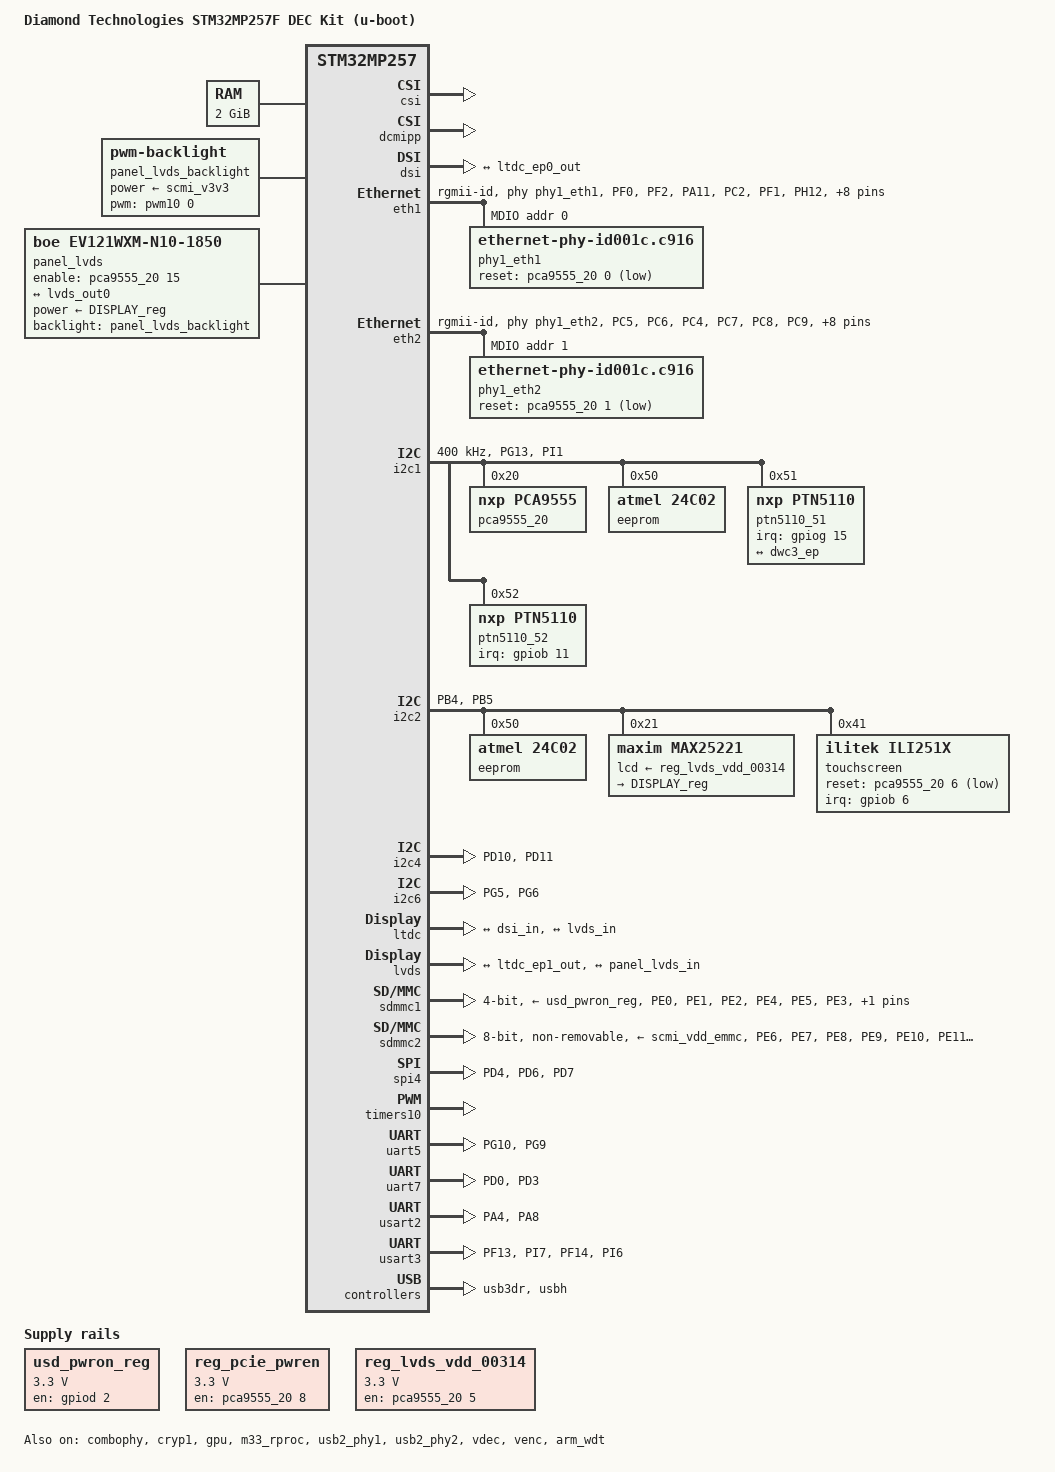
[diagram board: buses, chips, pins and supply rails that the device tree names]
// SPDX-License-Identifier: (GPL-2.0-only OR BSD-3-Clause)
/*
 * Copyright (C) 2025, STMicroelectronics - All Rights Reserved
 * Author: STM32CubeMX code generation for STMicroelectronics.
 */

/* For more information on Device Tree configuration, please refer to
 * https://wiki.st.com/stm32mpu/wiki/Category:Device_tree_configuration
 */

/dts-v1/;

#include <dt-bindings/pinctrl/stm32-pinfunc.h>
#include "stm32mp257.dtsi"
#include "stm32mp25xf.dtsi"
#include "stm32mp-dec-kit-resmem.dtsi"
#include "stm32mp25xxak-pinctrl.dtsi"

/* USER CODE BEGIN includes */
#include <dt-bindings/gpio/gpio.h>
#include <dt-bindings/input/input.h>
#include <dt-bindings/leds/common.h>
#include <dt-bindings/rtc/rtc-stm32.h>
#include <dt-bindings/usb/pd.h>
/* USER CODE END includes */

/ {
	model = "STMicroelectronics custom STM32CubeMX board - openstlinux-6.6-yocto-scarthgap-mpu-v25.06.11";
	compatible = "dec,stm32mp-dec-kit", "st,stm32mp257";

	memory@80000000 {
		device_type = "memory";
		reg = <0x0 0x80000000 0x0 0x80000000>;

		/* USER CODE BEGIN memory */
		/* USER CODE END memory */
	};

	/* USER CODE BEGIN root */
	aliases {
		serial0 = &usart2;
		serial1 = &usart6;
		serial2 = &usart1;
		ethernet0 = &eth1;
		ethernet1 = &eth2;
	};

	chosen {
		stdout-path = "serial0:115200n8";
		#address-cells = <2>;
		#size-cells = <2>;
		ranges;
	};

	usd_pwron_reg: usd_pwron {
		compatible = "regulator-fixed";
		pinctrl-names = "default";
		pinctrl-0 = <&usd_pwron_reg_pins>;		
		regulator-name = "usd-pwron-regulator";
		regulator-min-microvolt = <3300000>;
		regulator-max-microvolt = <3300000>;
		gpio = <&gpiod 2 GPIO_ACTIVE_HIGH>;
		enable-active-high;
	};

	reg_pcie_pwren: regulator-pcie-pwren {
		compatible = "regulator-fixed";
		regulator-name = "pcie-pwren";
		regulator-min-microvolt = <3300000>;
		regulator-max-microvolt = <3300000>;
		gpio = <&pca9555_20 8 GPIO_ACTIVE_HIGH>;
		enable-active-high;
		regulator-always-on;
		status = "okay";
	};		

	reg_lvds_vdd_00314: regulator-lvds-vdd {
		compatible = "regulator-fixed";
		regulator-name = "lvds_vdd";
		regulator-min-microvolt = <3300000>; /* 00314 will boost 1.8V output to 3.3V */
		regulator-max-microvolt = <3300000>;
		gpio = <&pca9555_20 5 GPIO_ACTIVE_HIGH>;
		enable-active-high;
		regulator-always-on;
		status = "okay";
	};
	/* USER CODE END root */

	clocks{

		/* USER CODE BEGIN clocks */
		/* USER CODE END clocks */
	};

}; /*root*/

&pinctrl {

	eth1_mdio_pins_mx: eth1_mdio_mx-0 {
		pins1 {
			pinmux = <STM32_PINMUX('F', 0, AF10)>; /* ETH1_MDC */
			bias-disable;
			drive-push-pull;
			slew-rate = <2>;
			st,io-clk-edge = <0>;
			st,io-retime = <0>;
			st,io-delay-path = <0>;
			st,io-delay = <0>;
		};
		pins2 {
			pinmux = <STM32_PINMUX('F', 2, AF10)>; /* ETH1_MDIO */
			bias-disable;
			drive-push-pull;
			slew-rate = <0>;
			st,io-clk-edge = <0>;
			st,io-retime = <0>;
			st,io-delay-path = <0>;
			st,io-delay = <0>;
		};
	};

	eth1_mdio_sleep_pins_mx: eth1_mdio_sleep_mx-0 {
		pins {
			pinmux = <STM32_PINMUX('F', 0, ANALOG)>, /* ETH1_MDC */
					 <STM32_PINMUX('F', 2, ANALOG)>; /* ETH1_MDIO */
		};
	};

	eth1_rgmii_pins_mx: eth1_rgmii_mx-0 {
		pins1 {
			pinmux = <STM32_PINMUX('A', 11, AF10)>, /* ETH1_RGMII_RX_CTL */
					 <STM32_PINMUX('C', 2, AF10)>, /* ETH1_RGMII_RXD1 */
					 <STM32_PINMUX('F', 1, AF10)>, /* ETH1_RGMII_RXD0 */
					 <STM32_PINMUX('H', 12, AF10)>, /* ETH1_RGMII_RXD2 */
					 <STM32_PINMUX('H', 13, AF10)>; /* ETH1_RGMII_RXD3 */
			bias-disable;
			drive-push-pull;
			st,io-clk-edge = <1>;
			st,io-retime = <1>;
			st,io-delay-path = <0>;
			st,io-delay = <0>;
		};
		pins2 {
			pinmux = <STM32_PINMUX('A', 13, AF10)>, /* ETH1_RGMII_TX_CTL */
					 <STM32_PINMUX('A', 15, AF10)>, /* ETH1_RGMII_TXD0 */
					 <STM32_PINMUX('C', 1, AF10)>, /* ETH1_RGMII_TXD1 */
					 <STM32_PINMUX('H', 10, AF10)>, /* ETH1_RGMII_TXD2 */
					 <STM32_PINMUX('H', 11, AF10)>; /* ETH1_RGMII_TXD3 */
			bias-disable;
			drive-push-pull;
			slew-rate = <2>;
			st,io-clk-edge = <1>;
			st,io-retime = <1>;
			st,io-delay-path = <0>;
			st,io-delay = <0>;
		};
		pins3 {
			pinmux = <STM32_PINMUX('A', 14, AF10)>; /* ETH1_RGMII_RX_CLK */
			bias-disable;
			drive-push-pull;
			slew-rate = <0>;
			st,io-clk-edge = <0>;
			st,io-retime = <0>;
			st,io-delay-path = <0>;
			st,io-delay = <0>;
		};
		pins4 {
			pinmux = <STM32_PINMUX('C', 0, AF12)>; /* ETH1_RGMII_GTX_CLK */
			bias-disable;
			drive-push-pull;
			slew-rate = <1>;
			st,io-clk-edge = <0>;
			st,io-retime = <0>;
			st,io-delay-path = <0>;
			st,io-delay = <0>;
		};
	};

	eth1_rgmii_sleep_pins_mx: eth1_rgmii_sleep_mx-0 {
		pins {
			pinmux = <STM32_PINMUX('A', 11, ANALOG)>, /* ETH1_RGMII_RX_CTL */
					 <STM32_PINMUX('A', 13, ANALOG)>, /* ETH1_RGMII_TX_CTL */
					 <STM32_PINMUX('A', 14, ANALOG)>, /* ETH1_RGMII_RX_CLK */
					 <STM32_PINMUX('A', 15, ANALOG)>, /* ETH1_RGMII_TXD0 */
					 <STM32_PINMUX('C', 0, ANALOG)>, /* ETH1_RGMII_GTX_CLK */
					 <STM32_PINMUX('C', 1, ANALOG)>, /* ETH1_RGMII_TXD1 */
					 <STM32_PINMUX('C', 2, ANALOG)>, /* ETH1_RGMII_RXD1 */
					 <STM32_PINMUX('F', 1, ANALOG)>, /* ETH1_RGMII_RXD0 */
					 <STM32_PINMUX('H', 10, ANALOG)>, /* ETH1_RGMII_TXD2 */
					 <STM32_PINMUX('H', 11, ANALOG)>, /* ETH1_RGMII_TXD3 */
					 <STM32_PINMUX('H', 12, ANALOG)>, /* ETH1_RGMII_RXD2 */
					 <STM32_PINMUX('H', 13, ANALOG)>; /* ETH1_RGMII_RXD3 */
		};
	};

	eth2_mdio_pins_mx: eth2_mdio_mx-0 {
		pins1 {
			pinmux = <STM32_PINMUX('C', 5, AF10)>; /* ETH2_MDIO */
			bias-disable;
			drive-push-pull;
			slew-rate = <0>;
			st,io-clk-edge = <0>;
			st,io-retime = <0>;
			st,io-delay-path = <0>;
			st,io-delay = <0>;
		};
		pins2 {
			pinmux = <STM32_PINMUX('C', 6, AF10)>; /* ETH2_MDC */
			bias-disable;
			drive-push-pull;
			slew-rate = <2>;
			st,io-clk-edge = <0>;
			st,io-retime = <0>;
			st,io-delay-path = <0>;
			st,io-delay = <0>;
		};
	};

	eth2_mdio_sleep_pins_mx: eth2_mdio_sleep_mx-0 {
		pins {
			pinmux = <STM32_PINMUX('C', 5, ANALOG)>, /* ETH2_MDIO */
					 <STM32_PINMUX('C', 6, ANALOG)>; /* ETH2_MDC */
		};
	};

	eth2_rgmii_pins_mx: eth2_rgmii_mx-0 {
		pins1 {
			pinmux = <STM32_PINMUX('C', 4, AF10)>, /* ETH2_RGMII_TX_CTL */
					 <STM32_PINMUX('C', 7, AF10)>, /* ETH2_RGMII_TXD0 */
					 <STM32_PINMUX('C', 8, AF10)>, /* ETH2_RGMII_TXD1 */
					 <STM32_PINMUX('C', 9, AF10)>, /* ETH2_RGMII_TXD2 */
					 <STM32_PINMUX('C', 10, AF10)>; /* ETH2_RGMII_TXD3 */
			bias-disable;
			drive-push-pull;
			slew-rate = <2>;
			st,io-clk-edge = <1>;
			st,io-retime = <1>;
			st,io-delay-path = <0>;
			st,io-delay = <0>;
		};
		pins2 {
			pinmux = <STM32_PINMUX('C', 3, AF10)>, /* ETH2_RGMII_RX_CTL */
					 <STM32_PINMUX('C', 11, AF10)>, /* ETH2_RGMII_RXD3 */
					 <STM32_PINMUX('C', 12, AF10)>, /* ETH2_RGMII_RXD1 */
					 <STM32_PINMUX('F', 9, AF10)>, /* ETH2_RGMII_RXD2 */
					 <STM32_PINMUX('G', 0, AF10)>; /* ETH2_RGMII_RXD0 */
			bias-disable;
			drive-push-pull;
			st,io-clk-edge = <1>;
			st,io-retime = <1>;
			st,io-delay-path = <0>;
			st,io-delay = <0>;
		};
		pins3 {
			pinmux = <STM32_PINMUX('F', 6, AF10)>; /* ETH2_RGMII_RX_CLK */
			bias-disable;
			drive-push-pull;
			slew-rate = <0>;
			st,io-clk-edge = <0>;
			st,io-retime = <0>;
			st,io-delay-path = <0>;
			st,io-delay = <0>;
		};
		pins4 {
			pinmux = <STM32_PINMUX('F', 7, AF10)>; /* ETH2_RGMII_GTX_CLK */
			bias-disable;
			drive-push-pull;
			slew-rate = <1>;
			st,io-clk-edge = <0>;
			st,io-retime = <0>;
			st,io-delay-path = <0>;
			st,io-delay = <0>;
		};
	};

	eth2_rgmii_sleep_pins_mx: eth2_rgmii_sleep_mx-0 {
		pins {
			pinmux = <STM32_PINMUX('C', 3, ANALOG)>, /* ETH2_RGMII_RX_CTL */
					 <STM32_PINMUX('C', 4, ANALOG)>, /* ETH2_RGMII_TX_CTL */
					 <STM32_PINMUX('C', 7, ANALOG)>, /* ETH2_RGMII_TXD0 */
					 <STM32_PINMUX('C', 8, ANALOG)>, /* ETH2_RGMII_TXD1 */
					 <STM32_PINMUX('C', 9, ANALOG)>, /* ETH2_RGMII_TXD2 */
					 <STM32_PINMUX('C', 10, ANALOG)>, /* ETH2_RGMII_TXD3 */
					 <STM32_PINMUX('C', 11, ANALOG)>, /* ETH2_RGMII_RXD3 */
					 <STM32_PINMUX('C', 12, ANALOG)>, /* ETH2_RGMII_RXD1 */
					 <STM32_PINMUX('F', 6, ANALOG)>, /* ETH2_RGMII_RX_CLK */
					 <STM32_PINMUX('F', 7, ANALOG)>, /* ETH2_RGMII_GTX_CLK */
					 <STM32_PINMUX('F', 9, ANALOG)>, /* ETH2_RGMII_RXD2 */
					 <STM32_PINMUX('G', 0, ANALOG)>; /* ETH2_RGMII_RXD0 */
		};
	};

	i2c1_pins_mx: i2c1_mx-0 {
		pins {
			pinmux = <STM32_PINMUX('G', 13, AF9)>, /* I2C1_SCL */
					 <STM32_PINMUX('I', 1, AF9)>; /* I2C1_SDA */
			bias-disable;
			drive-open-drain;
			slew-rate = <0>;
		};
	};

	i2c1_sleep_pins_mx: i2c1_sleep_mx-0 {
		pins {
			pinmux = <STM32_PINMUX('G', 13, ANALOG)>, /* I2C1_SCL */
					 <STM32_PINMUX('I', 1, ANALOG)>; /* I2C1_SDA */
		};
	};

	i2c2_pins_mx: i2c2_mx-0 {
		pins {
			pinmux = <STM32_PINMUX('B', 4, AF9)>, /* I2C2_SDA */
					 <STM32_PINMUX('B', 5, AF9)>; /* I2C2_SCL */
			bias-disable;
			drive-open-drain;
			slew-rate = <0>;
		};
	};

	i2c2_sleep_pins_mx: i2c2_sleep_mx-0 {
		pins {
			pinmux = <STM32_PINMUX('B', 4, ANALOG)>, /* I2C2_SDA */
					 <STM32_PINMUX('B', 5, ANALOG)>; /* I2C2_SCL */
		};
	};

	i2c4_pins_mx: i2c4_mx-0 {
		pins {
			pinmux = <STM32_PINMUX('D', 10, AF6)>, /* I2C4_SDA */
					 <STM32_PINMUX('D', 11, AF6)>; /* I2C4_SCL */
			bias-disable;
			drive-open-drain;
			slew-rate = <0>;
		};
	};

	i2c4_sleep_pins_mx: i2c4_sleep_mx-0 {
		pins {
			pinmux = <STM32_PINMUX('D', 10, ANALOG)>, /* I2C4_SDA */
					 <STM32_PINMUX('D', 11, ANALOG)>; /* I2C4_SCL */
		};
	};

	i2c6_pins_mx: i2c6_mx-0 {
		pins {
			pinmux = <STM32_PINMUX('G', 5, AF9)>, /* I2C6_SDA */
					 <STM32_PINMUX('G', 6, AF9)>; /* I2C6_SCL */
			bias-disable;
			drive-open-drain;
			slew-rate = <0>;
		};
	};

	i2c6_sleep_pins_mx: i2c6_sleep_mx-0 {
		pins {
			pinmux = <STM32_PINMUX('G', 5, ANALOG)>, /* I2C6_SDA */
					 <STM32_PINMUX('G', 6, ANALOG)>; /* I2C6_SCL */
		};
	};

	sdmmc1_pins_mx: sdmmc1_mx-0 {
		pins1 {
			pinmux = <STM32_PINMUX('E', 0, AF10)>, /* SDMMC1_D2 */
					 <STM32_PINMUX('E', 1, AF10)>, /* SDMMC1_D3 */
					 <STM32_PINMUX('E', 2, AF10)>, /* SDMMC1_CMD */
					 <STM32_PINMUX('E', 4, AF10)>, /* SDMMC1_D0 */
					 <STM32_PINMUX('E', 5, AF10)>; /* SDMMC1_D1 */
			bias-pull-up;
			drive-push-pull;
			slew-rate = <1>;
		};
		pins2 {
			pinmux = <STM32_PINMUX('E', 3, AF10)>; /* SDMMC1_CK */
			bias-pull-up;
			drive-push-pull;
			slew-rate = <2>;
		};
	};

	sdmmc1_opendrain_pins_mx: sdmmc1_opendrain_mx-0 {
		pins1 {
			pinmux = <STM32_PINMUX('E', 0, AF10)>, /* SDMMC1_D2 */
					 <STM32_PINMUX('E', 1, AF10)>, /* SDMMC1_D3 */
					 <STM32_PINMUX('E', 4, AF10)>, /* SDMMC1_D0 */
					 <STM32_PINMUX('E', 5, AF10)>; /* SDMMC1_D1 */
			bias-pull-up;
			drive-push-pull;
			slew-rate = <1>;
		};
		pins2 {
			pinmux = <STM32_PINMUX('E', 2, AF10)>; /* SDMMC1_CMD */
			bias-pull-up;
			drive-open-drain;
			slew-rate = <1>;
		};
		pins3 {
			pinmux = <STM32_PINMUX('E', 3, AF10)>; /* SDMMC1_CK */
			bias-pull-up;
			drive-push-pull;
			slew-rate = <2>;
		};
	};

	sdmmc1_sleep_pins_mx: sdmmc1_sleep_mx-0 {
		pins {
			pinmux = <STM32_PINMUX('E', 0, ANALOG)>, /* SDMMC1_D2 */
					 <STM32_PINMUX('E', 1, ANALOG)>, /* SDMMC1_D3 */
					 <STM32_PINMUX('E', 2, ANALOG)>, /* SDMMC1_CMD */
					 <STM32_PINMUX('E', 3, ANALOG)>, /* SDMMC1_CK */
					 <STM32_PINMUX('E', 4, ANALOG)>, /* SDMMC1_D0 */
					 <STM32_PINMUX('E', 5, ANALOG)>; /* SDMMC1_D1 */
		};
	};

	sdmmc2_pins_mx: sdmmc2_mx-0 {
		pins1 {
			pinmux = <STM32_PINMUX('E', 6, AF12)>, /* SDMMC2_D6 */
					 <STM32_PINMUX('E', 7, AF12)>, /* SDMMC2_D7 */
					 <STM32_PINMUX('E', 8, AF12)>, /* SDMMC2_D2 */
					 <STM32_PINMUX('E', 9, AF12)>, /* SDMMC2_D5 */
					 <STM32_PINMUX('E', 10, AF12)>, /* SDMMC2_D4 */
					 <STM32_PINMUX('E', 11, AF12)>, /* SDMMC2_D1 */
					 <STM32_PINMUX('E', 12, AF12)>, /* SDMMC2_D3 */
					 <STM32_PINMUX('E', 13, AF12)>, /* SDMMC2_D0 */
					 <STM32_PINMUX('E', 15, AF12)>; /* SDMMC2_CMD */
			bias-pull-up;
			drive-push-pull;
			slew-rate = <1>;
		};
		pins2 {
			pinmux = <STM32_PINMUX('E', 14, AF12)>; /* SDMMC2_CK */
			bias-pull-up;
			drive-push-pull;
			slew-rate = <2>;
		};
	};

	sdmmc2_opendrain_pins_mx: sdmmc2_opendrain_mx-0 {
		pins1 {
			pinmux = <STM32_PINMUX('E', 6, AF12)>, /* SDMMC2_D6 */
					 <STM32_PINMUX('E', 7, AF12)>, /* SDMMC2_D7 */
					 <STM32_PINMUX('E', 8, AF12)>, /* SDMMC2_D2 */
					 <STM32_PINMUX('E', 9, AF12)>, /* SDMMC2_D5 */
					 <STM32_PINMUX('E', 10, AF12)>, /* SDMMC2_D4 */
					 <STM32_PINMUX('E', 11, AF12)>, /* SDMMC2_D1 */
					 <STM32_PINMUX('E', 12, AF12)>, /* SDMMC2_D3 */
					 <STM32_PINMUX('E', 13, AF12)>; /* SDMMC2_D0 */
			bias-pull-up;
			drive-push-pull;
			slew-rate = <1>;
		};
		pins2 {
			pinmux = <STM32_PINMUX('E', 14, AF12)>; /* SDMMC2_CK */
			bias-pull-up;
			drive-push-pull;
			slew-rate = <2>;
		};
		pins3 {
			pinmux = <STM32_PINMUX('E', 15, AF12)>; /* SDMMC2_CMD */
			bias-pull-up;
			drive-open-drain;
			slew-rate = <1>;
		};
	};

	sdmmc2_sleep_pins_mx: sdmmc2_sleep_mx-0 {
		pins {
			pinmux = <STM32_PINMUX('E', 6, ANALOG)>, /* SDMMC2_D6 */
					 <STM32_PINMUX('E', 7, ANALOG)>, /* SDMMC2_D7 */
					 <STM32_PINMUX('E', 8, ANALOG)>, /* SDMMC2_D2 */
					 <STM32_PINMUX('E', 9, ANALOG)>, /* SDMMC2_D5 */
					 <STM32_PINMUX('E', 10, ANALOG)>, /* SDMMC2_D4 */
					 <STM32_PINMUX('E', 11, ANALOG)>, /* SDMMC2_D1 */
					 <STM32_PINMUX('E', 12, ANALOG)>, /* SDMMC2_D3 */
					 <STM32_PINMUX('E', 13, ANALOG)>, /* SDMMC2_D0 */
					 <STM32_PINMUX('E', 14, ANALOG)>, /* SDMMC2_CK */
					 <STM32_PINMUX('E', 15, ANALOG)>; /* SDMMC2_CMD */
		};
	};

	spi4_pins_mx: spi4_mx-0 {
		pins {
			pinmux = <STM32_PINMUX('D', 4, AF1)>, /* SPI4_MISO */
					 <STM32_PINMUX('D', 6, AF1)>, /* SPI4_MOSI */
					 <STM32_PINMUX('D', 7, AF1)>; /* SPI4_SCK */
			bias-disable;
			drive-push-pull;
			slew-rate = <0>;
		};
	};

	spi4_sleep_pins_mx: spi4_sleep_mx-0 {
		pins {
			pinmux = <STM32_PINMUX('D', 4, ANALOG)>, /* SPI4_MISO */
					 <STM32_PINMUX('D', 6, ANALOG)>, /* SPI4_MOSI */
					 <STM32_PINMUX('D', 7, ANALOG)>; /* SPI4_SCK */
		};
	};

	tim10_pwm_pins_mx: tim10_pwm_mx-0 {
		pins {
			pinmux = <STM32_PINMUX('B', 9, AF9)>; /* TIM10_CH1 */
			bias-disable;
			drive-push-pull;
			slew-rate = <0>;
		};
	};

	tim10_pwm_sleep_pins_mx: tim10_pwm_sleep_mx-0 {
		pins {
			pinmux = <STM32_PINMUX('B', 9, ANALOG)>; /* TIM10_CH1 */
		};
	};

	uart5_pins_mx: uart5_mx-0 {
		pins1 {
			pinmux = <STM32_PINMUX('G', 10, AF5)>; /* UART5_RX */
			bias-disable;
			drive-push-pull;
		};
		pins2 {
			pinmux = <STM32_PINMUX('G', 9, AF5)>; /* UART5_TX */
			bias-disable;
			drive-push-pull;
			slew-rate = <0>;
		};
	};

	uart5_idle_pins_mx: uart5_idle_mx-0 {
		pins1 {
			pinmux = <STM32_PINMUX('G', 10, AF5)>; /* UART5_RX */
			bias-disable;
			drive-push-pull;
		};
		pins2 {
			pinmux = <STM32_PINMUX('G', 9, ANALOG)>; /* UART5_TX */
		};
	};

	uart5_sleep_pins_mx: uart5_sleep_mx-0 {
		pins {
			pinmux = <STM32_PINMUX('G', 9, ANALOG)>, /* UART5_TX */
					 <STM32_PINMUX('G', 10, ANALOG)>; /* UART5_RX */
		};
	};

	uart7_pins_mx: uart7_mx-0 {
		pins1 {
			pinmux = <STM32_PINMUX('D', 0, AF6)>; /* UART7_RX */
			bias-disable;
			drive-push-pull;
		};
		pins2 {
			pinmux = <STM32_PINMUX('D', 3, AF6)>; /* UART7_TX */
			bias-disable;
			drive-push-pull;
			slew-rate = <0>;
		};
	};

	uart7_idle_pins_mx: uart7_idle_mx-0 {
		pins1 {
			pinmux = <STM32_PINMUX('D', 0, AF6)>; /* UART7_RX */
			bias-disable;
			drive-push-pull;
		};
		pins2 {
			pinmux = <STM32_PINMUX('D', 3, ANALOG)>; /* UART7_TX */
		};
	};

	uart7_sleep_pins_mx: uart7_sleep_mx-0 {
		pins {
			pinmux = <STM32_PINMUX('D', 0, ANALOG)>, /* UART7_RX */
					 <STM32_PINMUX('D', 3, ANALOG)>; /* UART7_TX */
		};
	};

	usart2_pins_mx: usart2_mx-0 {
		pins1 {
			pinmux = <STM32_PINMUX('A', 4, AF6)>; /* USART2_TX */
			bias-disable;
			drive-push-pull;
			slew-rate = <0>;
		};
		pins2 {
			pinmux = <STM32_PINMUX('A', 8, AF8)>; /* USART2_RX */
			bias-disable;
			drive-push-pull;
		};
	};

	usart2_idle_pins_mx: usart2_idle_mx-0 {
		pins1 {
			pinmux = <STM32_PINMUX('A', 4, ANALOG)>; /* USART2_TX */
		};
		pins2 {
			pinmux = <STM32_PINMUX('A', 8, AF8)>; /* USART2_RX */
			bias-disable;
			drive-push-pull;
		};
	};

	usart2_sleep_pins_mx: usart2_sleep_mx-0 {
		pins {
			pinmux = <STM32_PINMUX('A', 4, ANALOG)>, /* USART2_TX */
					 <STM32_PINMUX('A', 8, ANALOG)>; /* USART2_RX */
		};
	};

	usart3_pins_mx: usart3_mx-0 {
		pins1 {
			pinmux = <STM32_PINMUX('F', 13, AF6)>, /* USART3_CTS */
					 <STM32_PINMUX('I', 7, AF6)>; /* USART3_RX */
			bias-disable;
			drive-push-pull;
		};
		pins2 {
			pinmux = <STM32_PINMUX('F', 14, AF6)>, /* USART3_RTS */
					 <STM32_PINMUX('I', 6, AF6)>; /* USART3_TX */
			bias-disable;
			drive-push-pull;
			slew-rate = <0>;
		};
	};

	usart3_idle_pins_mx: usart3_idle_mx-0 {
		pins1 {
			pinmux = <STM32_PINMUX('F', 13, ANALOG)>, /* USART3_CTS */
					 <STM32_PINMUX('I', 6, ANALOG)>; /* USART3_TX */
		};
		pins2 {
			pinmux = <STM32_PINMUX('F', 14, AF6)>; /* USART3_RTS */
			bias-disable;
			drive-push-pull;
			slew-rate = <0>;
		};
		pins3 {
			pinmux = <STM32_PINMUX('I', 7, AF6)>; /* USART3_RX */
			bias-disable;
			drive-push-pull;
		};
	};

	usart3_sleep_pins_mx: usart3_sleep_mx-0 {
		pins {
			pinmux = <STM32_PINMUX('F', 13, ANALOG)>, /* USART3_CTS */
					 <STM32_PINMUX('F', 14, ANALOG)>, /* USART3_RTS */
					 <STM32_PINMUX('I', 6, ANALOG)>, /* USART3_TX */
					 <STM32_PINMUX('I', 7, ANALOG)>; /* USART3_RX */
		};
	};

	/* USER CODE BEGIN pinctrl */
	ptn5110_51_pins: ptn5110_51_pins-0 {
		pins {															
			pinmux = <STM32_PINMUX('G', 15, GPIO)>; /* USB_A_nALERT_1V8 */		
			bias-pull-up;
		};																
	};
	
	ptn5110_52_pins: ptn5110_52_pins-0 {
		pins {															
			pinmux = <STM32_PINMUX('B', 11, GPIO)>; /* USB_C_nALERT_1V8 */		
			bias-pull-up;
		};																
	};
	
	sdmmc1_gpio_pins: sdmmc1_gpio_pins-0 {
		pins {
			pinmux = <STM32_PINMUX('D', 9, GPIO)>; /* uSD_nDETECT */
		};
	};	

	usd_pwron_reg_pins: usd_pwron_reg_pins-0  {								
		pins {															
			pinmux = <STM32_PINMUX('D', 2, GPIO)>; /* uSD_PWRON */		
		};																
	};
		
	pinctrl_lvds_touchscreen: pinctrl_lvds_touchscreen-0 {
		pins {															
			pinmux = <STM32_PINMUX('B', 6, GPIO)>; /* LVDSCT_nINT */		
		};																
	};						

	pinctrl_dsi_touchscreen: pinctrl_dsi_touchscreen-0 {
		pins {															
			pinmux = <STM32_PINMUX('B', 3, GPIO)>; /* DSICT_nINT */		
		};																
	};	
	/* USER CODE END pinctrl */
};

&pinctrl_z {
	/* USER CODE BEGIN pinctrl_z */
	/* USER CODE END pinctrl_z */
};

&combophy {
	status = "okay";

	/* USER CODE BEGIN combophy */
	clocks = <&rcc CK_BUS_USB3PCIEPHY>, <&rcc CK_KER_USB3PCIEPHY>;
	clock-names = "apb-clk", "ker-clk";
	st,rx_equalizer = <1>;	
	/* USER CODE END combophy */
};

&cryp1 {
	status = "okay";

	/* USER CODE BEGIN cryp1 */
	/* USER CODE END cryp1 */
};

&csi {
	status = "okay";

	/* USER CODE BEGIN csi */
	/* USER CODE END csi */
};

&dcmipp {
	status = "okay";

	/* USER CODE BEGIN dcmipp */
	/* USER CODE END dcmipp */
};

&dsi {
	status = "okay";

	/* USER CODE BEGIN dsi */
	vdd-supply =  <&scmi_vddcore>;
	vdda18-supply = <&scmi_v1v8>;
	ports {
		#address-cells = <1>;
		#size-cells = <0>;

		port@0 {
			reg = <0>;
			dsi_in: endpoint {
				remote-endpoint = <&ltdc_ep0_out>;
			};
		};

/*
		port@1 {
			reg = <1>;
			dsi_out1: endpoint {
				remote-endpoint = <&sn65dsi83_in>;
			};
		};
*/
	};
	/* USER CODE END dsi */
};

&eth1 {
	pinctrl-names = "default", "sleep";
	pinctrl-0 = <&eth1_mdio_pins_mx>, <&eth1_rgmii_pins_mx>;
	pinctrl-1 = <&eth1_mdio_sleep_pins_mx>, <&eth1_rgmii_sleep_pins_mx>;
	status = "okay";

	/* USER CODE BEGIN eth1 */
	phy-mode = "rgmii-id";
	max-speed = <1000>;
	phy-handle = <&phy1_eth1>;
	st,eth-ptp-from-rcc;
	st,eth-clk-sel;
	snps,ext-systime;

	mdio1 {
		#address-cells = <1>;
		#size-cells = <0>;
		compatible = "snps,dwmac-mdio";

		phy1_eth1: ethernet-phy@0 {
			compatible = "ethernet-phy-id001c.c916";
			reset-gpios =  <&pca9555_20 0 GPIO_ACTIVE_LOW>;
			eee-broken-1000t;
			reset-assert-us = <10000>;
			reset-deassert-us = <80000>;		
			reg = <0>;
		};
	};	
	/* USER CODE END eth1 */
};

&eth2 {
	pinctrl-names = "default", "sleep";
	pinctrl-0 = <&eth2_mdio_pins_mx>, <&eth2_rgmii_pins_mx>;
	pinctrl-1 = <&eth2_mdio_sleep_pins_mx>, <&eth2_rgmii_sleep_pins_mx>;
	status = "okay";

	/* USER CODE BEGIN eth2 */
	phy-mode = "rgmii-id";
	max-speed = <1000>;
	phy-handle = <&phy1_eth2>;
	st,eth-ptp-from-rcc;
	st,eth-clk-sel;
	snps,ext-systime;

	mdio1 {
		#address-cells = <1>;
		#size-cells = <0>;
		compatible = "snps,dwmac-mdio";
		phy1_eth2: ethernet-phy@1 {
			compatible = "ethernet-phy-id001c.c916";
			reset-gpios =  <&pca9555_20 1 GPIO_ACTIVE_LOW>;
			reset-assert-us = <10000>;
			reset-deassert-us = <80000>;
			realtek,eee-disable;
			reg = <1>;
		};
	};	
	/* USER CODE END eth2 */
};

&gpu {
	status = "okay";

	/* USER CODE BEGIN gpu */
	contiguous-area = <&gpu_reserved>;
	/* USER CODE END gpu */
};

&hpdma {
	status = "okay";

	/* USER CODE BEGIN hpdma */
	memory-region = <&hpdma1_lli>;
	/* USER CODE END hpdma */
};

&hpdma2 {
	status = "okay";

	/* USER CODE BEGIN hpdma2 */
	memory-region = <&hpdma2_lli>;
	/* USER CODE END hpdma2 */
};

&hpdma3 {
	status = "okay";

	/* USER CODE BEGIN hpdma3 */
	memory-region = <&hpdma3_lli>;
	/* USER CODE END hpdma3 */
};

&i2c1 {
	pinctrl-names = "default", "sleep";
	pinctrl-0 = <&i2c1_pins_mx>;
	pinctrl-1 = <&i2c1_sleep_pins_mx>;
	status = "okay";

	/* USER CODE BEGIN i2c1 */
	i2c-scl-rising-time-ns = <108>;
	i2c-scl-falling-time-ns = <12>;
	clock-frequency = <400000>;
	status = "okay";
	/* spare dmas for other usage */
	/delete-property/dmas;
	/delete-property/dma-names;

	pca9555_20: pca9555@20 {
		compatible = "nxp,pca9555";
		gpio-controller;
		#gpio-cells = <2>;
		reg = <0x20>;
		gpio-line-names =
			"pca9555_20-0",	"pca9555_20-1",	"pca9555_20-2",	"pca9555_20-3", 	// 0-3
			"pca9555_20-4",	"pca9555_20-5",	"pca9555_20-6",	"pca9555_20-7",		// 4-7
			"pca9555_20-8",	"pca9555_20-9",	"pca9555_20-10","pca9555_20-11", 	// 8-11
			"pca9555_20-12","pca9555_20-13","pca9555_20-14","pca9555_20-15"; 	// 12-15		
	};

	eeprom@50 {
		compatible = "atmel,24c02";
		reg = <0x50>;
		pagesize = <16>;		
		status = "okay";
	};

	ptn5110_51: tcpc@51 {
		compatible = "nxp,ptn5110";
		reg = <0x51>;
		pinctrl-0 = <&ptn5110_51_pins>;
		interrupt-parent = <&gpiog>;
		interrupts = <15 IRQ_TYPE_EDGE_FALLING>;
		status = "okay";

		usbc_a_con: connector {
			compatible = "usb-c-connector";
			label = "USB-C(A)";
			power-role = "dual";
			data-role = "dual";
			try-power-role = "sink";
			source-pdos = <PDO_FIXED(5000, 3000, PDO_FIXED_USB_COMM)>;
			sink-pdos = <PDO_FIXED(5000, 3000, PDO_FIXED_USB_COMM)
				     PDO_VAR(5000, 20000, 3000)>;
			op-sink-microwatt = <15000000>;
			self-powered;
			status = "okay";

			port {
				typec_a_ep: endpoint {
					remote-endpoint = <&dwc3_ep>;
				};
			};
		};
	};

	ptn5110_52: tcpc@52 {
		compatible = "nxp,ptn5110";
		reg = <0x52>;
		pinctrl-0 = <&ptn5110_52_pins>;
		interrupt-parent = <&gpiob>;
		interrupts = <11 IRQ_TYPE_EDGE_FALLING>;
		status = "okay";

		usbc_c_con: connector {
			compatible = "usb-c-connector";
			label = "USB-C(C)";
			power-role = "source";
			data-role = "host";
			source-pdos = <PDO_FIXED(5000, 3000, PDO_FIXED_USB_COMM)>;
			self-powered;
			status = "okay";
		};
	};	
	/* USER CODE END i2c1 */
};

&i2c2 {
	pinctrl-names = "default", "sleep";
	pinctrl-0 = <&i2c2_pins_mx>;
	pinctrl-1 = <&i2c2_sleep_pins_mx>;
	status = "okay";

	/* USER CODE BEGIN i2c2 */
/*
	// gt911@5d {
	lvds_touchscreen@5d {
		compatible = "goodix,gt911";
		reg = <0x5d>;
		// reg = <0x14>;
		pinctrl-0 = <&pinctrl_lvds_touchscreen>;			
		interrupt-parent = <&gpiob>;
		interrupts = <6 IRQ_TYPE_EDGE_FALLING>;
		irq-gpios = <&gpiob 6 GPIO_ACTIVE_HIGH>;	//the driver uses this line to set the i2c address during initialization
		reset-gpios = <&pca9555_20 6 GPIO_ACTIVE_LOW>;
		status = "okay";
	};	
*/
	/* eeprom on display */
	eeprom@50 {
		compatible = "atmel,24c02";
		reg = <0x50>;
		pagesize = <16>;		
		status = "okay";
	};

	max25221: max25221@21 {
		compatible = "maxim,max25221";
		reg = <0x21>;
		lcd-supply = <&reg_lvds_vdd_00314>;
		status = "okay";

		regulators {
			DISPLAY_reg: DISPLAY {
				regulator-name = "DISPLAY";
			};
		};
	};

	touchscreen@41 {
		compatible = "ilitek,ili251x";
		reg = <0x41>;
		pinctrl-names = "default";
		pinctrl-0 =<&pinctrl_lvds_touchscreen>;
		interrupt-parent = <&gpiob>;
		interrupts = <6 IRQ_TYPE_EDGE_FALLING>;
		reset-gpios = <&pca9555_20 6 GPIO_ACTIVE_LOW>;
		// touchscreen-size-x = <1280>;
		// touchscreen-size-y = <800>;
	};
/* 
	dsi_touchscreen@41 {
		compatible = "ilitek,ili2520";
		reg = <0x41>;

		pinctrl-0 = <&pinctrl_dsi_touchscreen>;
		reset-gpios = <&pca9555_20 4 GPIO_ACTIVE_LOW>;
		interrupt-parent = <&gpiob>;
		interrupts = <3 IRQ_TYPE_LEVEL_LOW>;
		touchscreen-swapped-x-y;
		touchscreen-inverted-x;
		wakeup-source;
	};
*/

	/* USER CODE END i2c2 */
};

&i2c4 {
	pinctrl-names = "default", "sleep";
	pinctrl-0 = <&i2c4_pins_mx>;
	pinctrl-1 = <&i2c4_sleep_pins_mx>;
	status = "okay";

	/* USER CODE BEGIN i2c4 */
	/* USER CODE END i2c4 */
};

&i2c6 {
	pinctrl-names = "default", "sleep";
	pinctrl-0 = <&i2c6_pins_mx>;
	pinctrl-1 = <&i2c6_sleep_pins_mx>;
	status = "okay";

	/* USER CODE BEGIN i2c6 */
	/* USER CODE END i2c6 */
};

&ipcc1 {
	status = "okay";

	/* USER CODE BEGIN ipcc1 */
	/* USER CODE END ipcc1 */
};

&ltdc {
	status = "okay";

	/* USER CODE BEGIN ltdc */
	default-on;
	rotation-memory = <&ltdc_sec_rotation>;

	port {
		#address-cells = <1>;
		#size-cells = <0>;

		ltdc_ep0_out: endpoint@0 {
			reg = <0>;
			remote-endpoint = <&dsi_in>;
		};

		ltdc_ep1_out: endpoint@1 {
			reg = <1>;
			remote-endpoint = <&lvds_in>;
		};

	};
	/* USER CODE END ltdc */
};

&lvds {
	status = "okay";

	/* USER CODE BEGIN lvds */
	default-on;
	vdd-supply =  <&scmi_vddcore>;
	vdda18-supply = <&scmi_v1v8>;

	ports {
		#address-cells = <1>;
		#size-cells = <0>;

		port@0 {
			reg = <0>;
			lvds_in: endpoint {
				remote-endpoint = <&ltdc_ep1_out>;
			};
		};

		port@1 {
			reg = <1>;
			lvds_out0: endpoint {
				remote-endpoint = <&panel_lvds_in>;
			};
		};
	};	
	/* USER CODE END lvds */
};

&m33_rproc {
	status = "okay";

	/*Restriction: "memory-region" property is not managed - please to use User-Section if needed*/
	mboxes = <&ipcc1 0x100>, <&ipcc1 0x101>, <&ipcc1 2>;
	mbox-names = "vq0", "vq1", "shutdown";

	/* USER CODE BEGIN m33_rproc */
	/* USER CODE END m33_rproc */
};

&sdmmc1 {
	pinctrl-names = "default", "opendrain", "sleep";
	pinctrl-0 = <&sdmmc1_pins_mx>;
	pinctrl-1 = <&sdmmc1_opendrain_pins_mx>;
	pinctrl-2 = <&sdmmc1_sleep_pins_mx>;
	status = "okay";

	/* USER CODE BEGIN sdmmc1 */
	pinctrl-3 = <&sdmmc1_gpio_pins>;
	cd-gpios = <&gpiod 9 (GPIO_ACTIVE_LOW)>;
	disable-wp;
	st,neg-edge;
	bus-width = <4>;
	vmmc-supply = <&usd_pwron_reg>;
	vqmmc-supply = <&scmi_vddio1>;	
	sd-uhs-sdr12;
	sd-uhs-sdr25;
	sd-uhs-sdr50;
	sd-uhs-ddr50;
	sd-uhs-sdr104;
	/* USER CODE END sdmmc1 */
};

&sdmmc2 {
	pinctrl-names = "default", "opendrain", "sleep";
	pinctrl-0 = <&sdmmc2_pins_mx>;
	pinctrl-1 = <&sdmmc2_opendrain_pins_mx>;
	pinctrl-2 = <&sdmmc2_sleep_pins_mx>;
	status = "okay";

	/* USER CODE BEGIN sdmmc2 */
	non-removable;
	no-sd;
	no-sdio;
	st,neg-edge;
	bus-width = <8>;
	vmmc-supply = <&scmi_vdd_emmc>;
	vqmmc-supply = <&scmi_vddio2>;
	mmc-ddr-1_8v;
	mmc-hs200-1_8v;
	/* USER CODE END sdmmc2 */
};

&spi4 {
	pinctrl-names = "default", "sleep";
	pinctrl-0 = <&spi4_pins_mx>;
	pinctrl-1 = <&spi4_sleep_pins_mx>;
	status = "okay";

	/* USER CODE BEGIN spi4 */
	/* USER CODE END spi4 */
};

&timers10 {
	pinctrl-names = "default", "sleep";
	pinctrl-0 = <&tim10_pwm_pins_mx>;
	pinctrl-1 = <&tim10_pwm_sleep_pins_mx>;
	status = "okay";

	/* USER CODE BEGIN timers10 */
	/* USER CODE END timers10 */
};

&uart5 {
	pinctrl-names = "default", "idle", "sleep";
	pinctrl-0 = <&uart5_pins_mx>;
	pinctrl-1 = <&uart5_idle_pins_mx>;
	pinctrl-2 = <&uart5_sleep_pins_mx>;
	status = "okay";

	/* USER CODE BEGIN uart5 */
	/* USER CODE END uart5 */
};

&uart7 {
	pinctrl-names = "default", "idle", "sleep";
	pinctrl-0 = <&uart7_pins_mx>;
	pinctrl-1 = <&uart7_idle_pins_mx>;
	pinctrl-2 = <&uart7_sleep_pins_mx>;
	status = "okay";

	/* USER CODE BEGIN uart7 */
	/* USER CODE END uart7 */
};

&usart2 {
	pinctrl-names = "default", "idle", "sleep";
	pinctrl-0 = <&usart2_pins_mx>;
	pinctrl-1 = <&usart2_idle_pins_mx>;
	pinctrl-2 = <&usart2_sleep_pins_mx>;
	status = "okay";

	/* USER CODE BEGIN usart2 */
	/* USER CODE END usart2 */
};

&usart3 {
	pinctrl-names = "default", "idle", "sleep";
	pinctrl-0 = <&usart3_pins_mx>;
	pinctrl-1 = <&usart3_idle_pins_mx>;
	pinctrl-2 = <&usart3_sleep_pins_mx>;
	status = "okay";

	/* USER CODE BEGIN usart3 */
	/* USER CODE END usart3 */
};

&usb2_phy1 {
	status = "okay";

	/* USER CODE BEGIN usb2_phy1 */
	vdd33-supply = <&scmi_vdd3v3_usb>;
	/* USER CODE END usb2_phy1 */
};

&usb2_phy2 {
	status = "okay";

	/* USER CODE BEGIN usb2_phy2 */
	vdd33-supply = <&scmi_vdd3v3_usb>;
	/* USER CODE END usb2_phy2 */
};

&usb3dr {
	status = "okay";

	/* USER CODE BEGIN usb3dr */
	dwc3: usb@48300000 {
		maximum-speed 	= "high-speed";
		usb-role-switch;
		port {
			dwc3_ep: endpoint {
				remote-endpoint = <&typec_a_ep>;
			};
		};
	};	
	/* USER CODE END usb3dr */
};

&usbh {
	status = "okay";

	/* USER CODE BEGIN usbh */
	usbh_ohci: usb@482e0000 {
		status = "okay";
	};
	/* USER CODE END usbh */
};

&vdec {
	status = "okay";

	/* USER CODE BEGIN vdec */
	/* USER CODE END vdec */
};

&venc {
	status = "okay";

	/* USER CODE BEGIN venc */
	/* USER CODE END venc */
};

/* USER CODE BEGIN addons */
/ {
	model = "Diamond Technologies STM32MP257F DEC Kit (u-boot)";

	panel_lvds_backlight: panel-lvds-backlight {
		compatible = "pwm-backlight";
		pwms = <&pwm10 0 45455 0>; // 22kHz freq (45455 nsec period)
		brightness-levels = <0 100>;
		num-interpolated-steps = <100>;
		default-brightness-level = <80>;
		power-supply = <&scmi_v3v3>;
		status = "okay";
	};

	panel_lvds: panel-lvds {	
		compatible = "boe,ev121wxm-n10-1850";
		backlight = <&panel_lvds_backlight>;		
		power-supply = <&DISPLAY_reg>;
		enable-gpios = <&pca9555_20 15 GPIO_ACTIVE_HIGH>; /* Analog switch to connect LVDS_I2C */

		port {
			panel_lvds_in: endpoint {
				remote-endpoint = <&lvds_out0>;
			};
		};
	};
};

&arm_wdt {
	timeout-sec = <32>;
	status = "okay";
};


&scmi_regu {
	scmi_vddio1: regulator@0 {
		reg = <VOLTD_SCMI_VDDIO1>;
		regulator-name = "vddio1";
		regulator-min-microvolt = <1800000>;
		regulator-max-microvolt = <3300000>;
	};
	scmi_vddio2: regulator@1 {
		reg = <VOLTD_SCMI_VDDIO2>;
		regulator-name = "vddio2";
	};
	scmi_vddio3: regulator@2 {
		reg = <VOLTD_SCMI_VDDIO3>;
		regulator-name = "vddio3";
	};
	scmi_vddio4: regulator@3 {
		reg = <VOLTD_SCMI_VDDIO4>;
		regulator-name = "vddio4";
	};
	scmi_vdd33ucpd: regulator@5 {
		reg = <VOLTD_SCMI_UCPD>;
		regulator-name = "vdd33ucpd";
	};
	scmi_vdda18adc: regulator@7 {
		reg = <VOLTD_SCMI_ADC>;
		regulator-name = "vdda18adc";
	};
	scmi_vddcore: regulator@11  {
		reg = <VOLTD_SCMI_STPMIC2_BUCK2>;
		regulator-name = "vddcore";
	};
	scmi_vddio1v8: regulator@12  {
		reg = <VOLTD_SCMI_STPMIC2_BUCK4>;
		regulator-name = "vddio_1v8";
	};
	scmi_v1v8: regulator@14  {
		reg = <VOLTD_SCMI_STPMIC2_BUCK5>;
		regulator-name = "v1v8";
	};
	scmi_v3v3: regulator@16 {
		reg = <VOLTD_SCMI_STPMIC2_BUCK7>;
		regulator-name = "v3v3";
	};
	scmi_vdd_emmc: regulator@18 {
		reg = <VOLTD_SCMI_STPMIC2_LDO2>;
		regulator-name = "vdd_emmc";
	};
	scmi_vdd3v3_usb: regulator@20 {
		reg = <VOLTD_SCMI_STPMIC2_LDO4>;
		regulator-name = "vdd3v3_usb";
	};
};

&ipcc1 {
	status = "okay";
};

&ipcc2 {
	status = "okay";
};

&ahbsr {
	mbox_client: mailbox-client@1 {
		compatible = "mbox-cdev";
		reg = <1 0>;
		memory-region =  <&ipc_shmem_2>;
		mboxes = <&ipcc2 0>;
		mbox-names = "rx-tx";
		status = "okay";
	};
};

&timers10 {
	/delete-property/pinctrl-names;
	/delete-property/pinctrl-0;
	/delete-property/pinctrl-1;
	/delete-property/dmas;
	/delete-property/dma-names;
	status = "okay";

	pwm10: pwm {
		pinctrl-names = "default", "sleep";
		pinctrl-0 = <&tim10_pwm_pins_mx>;
		pinctrl-1 = <&tim10_pwm_sleep_pins_mx>;
		status = "okay";
	};	
};

/* USER CODE END addons */

